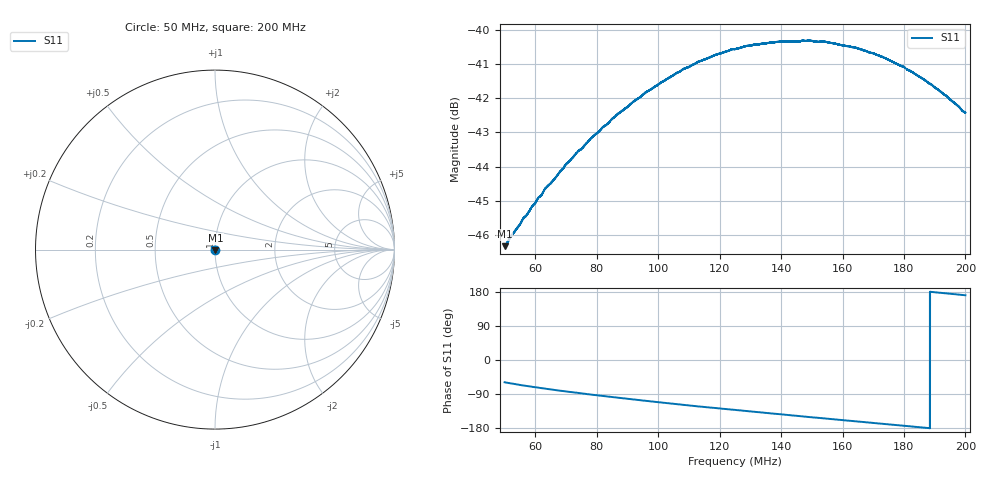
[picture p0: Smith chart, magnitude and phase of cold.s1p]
! COPPER MOUNTAIN TECHNOLOGIES, PLANAR TR1300/1, 00071119, 20.2.2/1.0
! Date: 12/11/2023 3:25:20 PM
! Data: Format [Calibration Info]
! Freq  S11: Re/Im F1
# HZ S RI R 50
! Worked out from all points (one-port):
!   12288 points, 50 MHz to 200 MHz, reference 50 ohm
!   lowest |S11| = -46.3 dB at 50.07 MHz (marker M1), VSWR 1.01, Z = 50.2 - j0.415 ohm
!   |S11| at or under -10 dB: start of sweep to end of sweep
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5e7  0.0025 -0.00413
5.007325e7  0.0025 -0.00413
5.603076e7  0.00206 -0.00488
6.333116e7  0.00144 -0.00568
6.550419e7  0.00123 -0.00587
6.875153e7  0.000901 -0.00619
7.352486e7  0.00041 -0.0066
7.54049e7  0.000189 -0.00672
7.81395e7  -0.000151 -0.00694
8.750305e7  -0.00133 -0.00745
9.608529e7  -0.00248 -0.00772
1.062546e8  -0.00393 -0.00771
1.133719e8  -0.00486 -0.00756
1.188288e8  -0.00552 -0.00735
1.250061e8  -0.00622 -0.00699
1.285708e8  -0.00664 -0.00674
1.341621e8  -0.00719 -0.00628
1.437576e8  -0.008 -0.00533
1.491902e8  -0.00839 -0.00474
1.543054e8  -0.00866 -0.00415
1.625092e8  -0.0089 -0.00315
1.655245e8  -0.00895 -0.00278
1.730935e8  -0.00893 -0.00184
1.812607e8  -0.0087 -0.000837
1.890372e8  -0.00831 6.03e-05
1.939692e8  -0.00797 0.000599
1.992065e8  -0.00752 0.00113
2e8  -0.00747 0.00121
